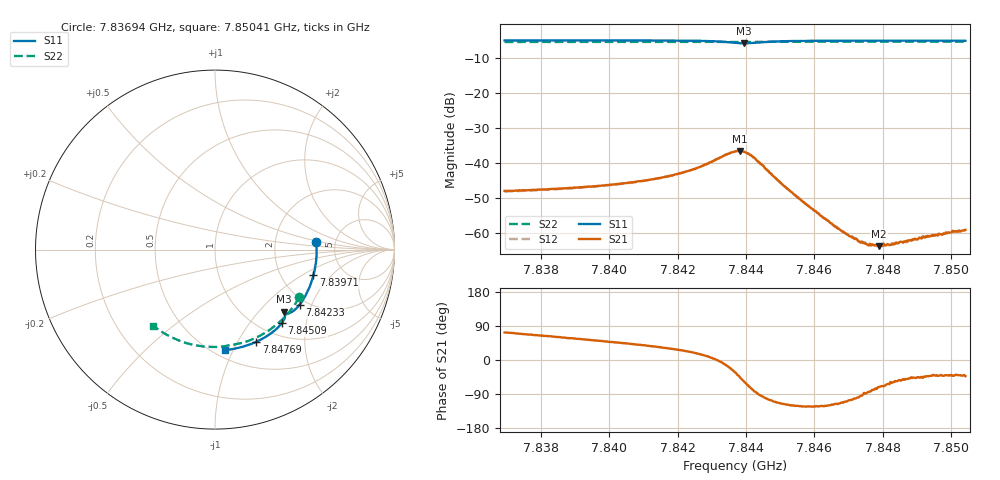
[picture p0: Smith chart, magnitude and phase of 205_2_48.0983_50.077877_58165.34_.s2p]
#  HZ  S  RI  R  50.00
! Rohde & Schwarz Vector Network Analyzer
! Rohde-Schwarz,ZNB20-2Port,1311601062101988,3.16
! Created: UTC 12/23/2023, 3:55:11 AM
! freq[Hz]  re:S11  im:S11  re:S21  im:S21  re:S12  im:S12  re:S22  im:S22
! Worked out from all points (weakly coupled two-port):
!   401 points, 7.83694 GHz to 7.85041 GHz, reference 50 ohm
!   highest |S21| = -36.58 dB at 7.84381 GHz (marker M1); lowest = -63.9 dB at 7.84789 GHz (marker M2)
!   lowest |S11| = -5.7 dB at 7.84395 GHz (marker M3), VSWR 3.13, Z = 73.2 - j69.1 ohm
!   |S11| at or under -10 dB: nowhere
!   |S22| runs from -5.4 to -5.3 dB; largest |S21 - S12| = 0.00039
!   S11 on the Smith chart (normalised r, x): 7.83694 GHz: 3.56, +0.41; 7.83971 GHz: 3.03, -1.27; 7.84233 GHz: 1.83, -1.64; 7.84509 GHz: 1.24, -1.46; 7.84769 GHz: 0.80, -1.20; 7.85041 GHz: 0.57, -0.93
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7.836944e9  0.5647 0.0396  0.00118 0.00378  0.00118 0.00368  0.4691 -0.2664
7.8392e9  0.5562 -0.1098  0.00258 0.00364  0.00252 0.00362  0.3727 -0.3913
7.839705e9  0.5486 -0.1429  0.00297 0.00361  0.00293 0.00359  0.3463 -0.4149
7.841456e9  0.5053 -0.2543  0.005 0.00338  0.00496 0.00339  0.2444 -0.4829
7.842332e9  0.4711 -0.3072  0.00713 0.0029  0.00712 0.00289  0.1879 -0.5076
7.842736e9  0.4506 -0.3301  0.00883 0.00213  0.0088 0.00213  0.1609 -0.5167
7.843207e9  0.4199 -0.3518  0.0116 -0.000534  0.0115 -0.000316  0.1288 -0.5251
7.843679e9  0.3867 -0.3538  0.0123 -0.00785  0.0124 -0.00779  0.0971 -0.5303
7.843814e9  0.3822 -0.3499  0.0106 -0.0104  0.0105 -0.0104  0.0888 -0.5315
7.843948e9  0.3824 -0.3465  0.00768 -0.0121  0.00781 -0.0121  0.0801 -0.533
7.844218e9  0.3893 -0.3508  0.002 -0.0118  0.0021 -0.0117  0.0628 -0.5364
7.845093e9  0.3738 -0.4077  -0.00208 -0.00427  -0.00209 -0.00433  0.00198 -0.5426
7.845935e9  0.3317 -0.4513  -0.00119 -0.00185  -0.00121 -0.00184  -0.0575 -0.5405
7.846508e9  0.2998 -0.475  -0.000625 -0.00119  -0.000639 -0.00117  -0.0974 -0.5352
7.846979e9  0.2723 -0.492  -0.000287 -0.000884  -0.000315 -0.000872  -0.1298 -0.5286
7.847349e9  0.2501 -0.5039  -5.66e-05 -0.000714  -4.83e-05 -0.000775  -0.1551 -0.522
7.847686e9  0.2298 -0.5139  0.000131 -0.000664  8.21e-05 -0.000676  -0.1778 -0.515
7.847888e9  0.2173 -0.5194  0.000209 -0.000603  0.000156 -0.000638  -0.1909 -0.5103
7.848191e9  0.1985 -0.5269  0.00029 -0.000593  0.000305 -0.000615  -0.2108 -0.5027
7.848629e9  0.1707 -0.5365  0.000454 -0.00059  0.000452 -0.000599  -0.239 -0.4902
7.849235e9  0.1318 -0.5472  0.000607 -0.000593  0.000622 -0.00061  -0.2764 -0.4704
7.850414e9  0.0544 -0.5597  0.000807 -0.000738  0.00082 -0.000703  -0.3445 -0.4238
